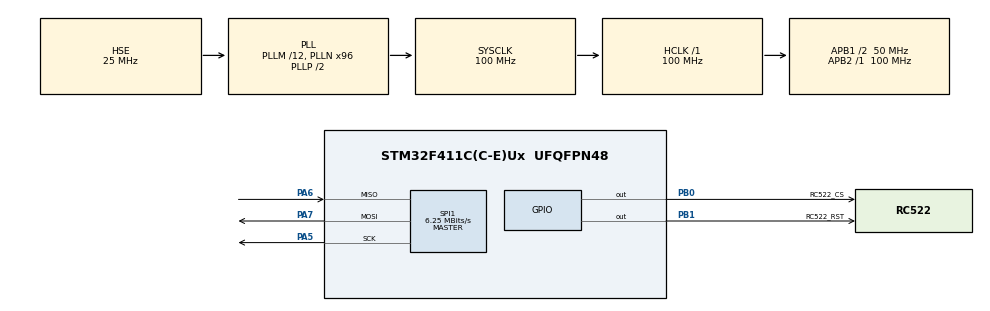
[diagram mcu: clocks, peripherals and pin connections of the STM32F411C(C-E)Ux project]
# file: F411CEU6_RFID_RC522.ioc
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Mcu.Family=STM32F4
Mcu.Name=STM32F411C(C-E)Ux
Mcu.Package=UFQFPN48
NVIC.PriorityGroup=NVIC_PRIORITYGROUP_4
PA13.Mode=Serial_Wire
PA13.Signal=SYS_JTMS-SWDIO
PA14.Mode=Serial_Wire
PA14.Signal=SYS_JTCK-SWCLK
PA5.Mode=Full_Duplex_Master
PA5.Signal=SPI1_SCK
PA6.Mode=Full_Duplex_Master
PA6.Signal=SPI1_MISO
PA7.Mode=Full_Duplex_Master
PA7.Signal=SPI1_MOSI
PB0.GPIO_Label=RC522_CS
PB0.Signal=GPIO_Output
PB1.GPIO_Label=RC522_RST
PB1.Signal=GPIO_Output
PH0\ -\ OSC_IN.Mode=HSE-External-Oscillator
PH0\ -\ OSC_IN.Signal=RCC_OSC_IN
PH1\ -\ OSC_OUT.Mode=HSE-External-Oscillator
PH1\ -\ OSC_OUT.Signal=RCC_OSC_OUT
ProjectManager.HeapSize=0x200
ProjectManager.StackSize=0x400
ProjectManager.TargetToolchain=STM32CubeIDE
RCC.48MHZClocksFreq_Value=50000000
RCC.AHBFreq_Value=100000000
RCC.APB1CLKDivider=RCC_HCLK_DIV2
RCC.APB1Freq_Value=50000000
RCC.APB1TimFreq_Value=100000000
RCC.APB2Freq_Value=100000000
RCC.APB2TimFreq_Value=100000000
RCC.CortexFreq_Value=100000000
RCC.HCLKFreq_Value=100000000
RCC.HSE_VALUE=25000000
RCC.HSI_VALUE=16000000
RCC.LSE_VALUE=32768
RCC.PLLM=12
RCC.PLLN=96
RCC.PLLSourceVirtual=RCC_PLLSOURCE_HSE
RCC.SYSCLKFreq_VALUE=100000000
RCC.SYSCLKSource=RCC_SYSCLKSOURCE_PLLCLK
RCC.VCOOutputFreq_Value=200000000
SPI1.BaudRatePrescaler=SPI_BAUDRATEPRESCALER_16
SPI1.CalculateBaudRate=6.25 MBits/s
SPI1.Direction=SPI_DIRECTION_2LINES
SPI1.Mode=SPI_MODE_MASTER
SPI1.VirtualType=VM_MASTER
board=custom

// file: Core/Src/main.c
/* USER CODE BEGIN Header */
/**
  ******************************************************************************
  * @file           : main.c
  * @brief          : Main program body
  ******************************************************************************
  * @attention
  *
  * Copyright (c) 2024 STMicroelectronics.
  * All rights reserved.
  *
  * This software is licensed under terms that can be found in the LICENSE file
  * in the root directory of this software component.
  * If no LICENSE file comes with this software, it is provided AS-IS.
  *
  ******************************************************************************
  */
/* USER CODE END Header */
#include "main.h"

/* USER CODE BEGIN Includes */
#include "delay.h"
#include "MFRC522.h"
#include <string.h>
/* USER CODE END Includes */

SPI_HandleTypeDef hspi1;

/* USER CODE BEGIN PV */
u_char status, cardstr[MAX_LEN+1];
u_char card_data[17];
uint32_t delay_val = 1000; //ms

// To keep track of the phases of processing that we pass through
uint16_t result = 0;

// The type of card inserted
u_char TagType[2];

u_char UID[5];

// Select Acknowledge https://www.nxp.com/docs/en/application-note/AN10833.pdf
u_char SAK = 0;

// To read the entire 1KB of the card for inspection
u_char CardContent[64][17];
u_char CardReadStatus;

// a private key to scramble data writing/reading to/from RFID card:
u_char Mx1[7][5]={{0x12,0x45,0xF2,0xA8},{0xB2,0x6C,0x39,0x83},{0x55,0xE5,0xDA,0x18},
				{0x1F,0x09,0xCA,0x75},{0x99,0xA2,0x50,0xEC},{0x2C,0x88,0x7F,0x3D}};

u_char SectorKey[7];
/* USER CODE END PV */

void SystemClock_Config(void);
static void MX_GPIO_Init(void);
static void MX_SPI1_Init(void);

/* USER CODE BEGIN 0 */
void ProcessTag() {
#if 0
	SectorKey[0] = ((Mx1[0][0]) ^ (UID[0])) + ((Mx1[0][1]) ^ (UID[1]))
			+ ((Mx1[0][2]) ^ (UID[2])) + ((Mx1[0][3]) ^ (UID[3])); // 0x11; //KeyA[0]
	SectorKey[1] = ((Mx1[1][0]) ^ (UID[0])) + ((Mx1[1][1]) ^ (UID[1]))
			+ ((Mx1[1][2]) ^ (UID[2])) + ((Mx1[1][3]) ^ (UID[3])); // 0x11; //KeyA[0]
	SectorKey[2] = ((Mx1[2][0]) ^ (UID[0])) + ((Mx1[2][1]) ^ (UID[1]))
			+ ((Mx1[2][2]) ^ (UID[2])) + ((Mx1[2][3]) ^ (UID[3])); // 0x11; //KeyA[0]
	SectorKey[3] = ((Mx1[3][0]) ^ (UID[0])) + ((Mx1[3][1]) ^ (UID[1]))
			+ ((Mx1[3][2]) ^ (UID[2])) + ((Mx1[3][3]) ^ (UID[3])); // 0x11; //KeyA[0]
	SectorKey[4] = ((Mx1[4][0]) ^ (UID[0])) + ((Mx1[4][1]) ^ (UID[1]))
			+ ((Mx1[4][2]) ^ (UID[2])) + ((Mx1[4][3]) ^ (UID[3])); // 0x11; //KeyA[0]
	SectorKey[5] = ((Mx1[5][0]) ^ (UID[0])) + ((Mx1[5][1]) ^ (UID[1]))
			+ ((Mx1[5][2]) ^ (UID[2])) + ((Mx1[5][3]) ^ (UID[3])); // 0x11; //KeyA[0]

	DWT_Delay_ms(1);
	status = MFRC522_Auth(0x60, 3, SectorKey, cardstr);

	if (status == MI_OK) {
		result++;

		if (HAL_GPIO_ReadPin(Key2_GPIO_Port, Key2_Pin) == 0) {
			// Clean-Up the Card:
			card_data[0] = 0xFF;
			card_data[1] = 0xFF;
			card_data[2] = 0xFF;
			card_data[3] = 0xFF;
			card_data[4] = 0xFF;
			card_data[5] = 0xFF;
			card_data[6] = 0xFF; //Access_bits[6]
			card_data[7] = 0x07; //Access_bits[7]
			card_data[8] = 0x80; //Access_bits[8]
			card_data[9] = 0x88; //user_byte[9]
			card_data[10] = 0x88; //user_byte[10]
			card_data[11] = 0x88; //user_byte[11]
			card_data[12] = 0x88; //user_byte[12]
			card_data[13] = 0x88; //user_byte[13]
			card_data[14] = 0x88; //user_byte[14]
			card_data[15] = 0x88; //user_byte[15]
			DWT_Delay_ms(1);
			status = MFRC522_Write(3, card_data);
			if (status == MI_OK) {
				result++;
				delay_val = 2000;
			}
		}
	} else {
		for (int i = 0; i < 16; i++) {
			cardstr[i] = 0;
		}
		status = 0;
		// Find cards
		DWT_Delay_ms(1);
		status = MFRC522_Request(PICC_REQIDL, cardstr);
		DWT_Delay_ms(1);
		status = MFRC522_Anticoll(cardstr);
		DWT_Delay_ms(1);
		status = MFRC522_SelectTag(cardstr);
		SectorKey[0] = 0xFF;
		SectorKey[1] = 0xFF;
		SectorKey[2] = 0xFF;
		SectorKey[3] = 0xFF;
		SectorKey[4] = 0xFF;
		SectorKey[5] = 0xFF;
		DWT_Delay_ms(1);
		status = MFRC522_Auth(0x60, 3, SectorKey, cardstr);
		if (status == MI_OK) {
			if (HAL_GPIO_ReadPin(Key1_GPIO_Port, Key1_Pin) == 0) {
				card_data[0] = ((Mx1[0][0]) ^ (UID[0]))
						+ ((Mx1[0][1]) ^ (UID[1])) + ((Mx1[0][2]) ^ (UID[2]))
						+ ((Mx1[0][3]) ^ (UID[3])); // 0x11; //KeyA[0]
				card_data[1] = ((Mx1[1][0]) ^ (UID[0]))
						+ ((Mx1[1][1]) ^ (UID[1])) + ((Mx1[1][2]) ^ (UID[2]))
						+ ((Mx1[1][3]) ^ (UID[3])); // 0x11; //KeyA[0]
				card_data[2] = ((Mx1[2][0]) ^ (UID[0]))
						+ ((Mx1[2][1]) ^ (UID[1])) + ((Mx1[2][2]) ^ (UID[2]))
						+ ((Mx1[2][3]) ^ (UID[3])); // 0x11; //KeyA[0]
				card_data[3] = ((Mx1[3][0]) ^ (UID[0]))
						+ ((Mx1[3][1]) ^ (UID[1])) + ((Mx1[3][2]) ^ (UID[2]))
						+ ((Mx1[3][3]) ^ (UID[3])); // 0x11; //KeyA[0]
				card_data[4] = ((Mx1[4][0]) ^ (UID[0]))
						+ ((Mx1[4][1]) ^ (UID[1])) + ((Mx1[4][2]) ^ (UID[2]))
						+ ((Mx1[4][3]) ^ (UID[3])); // 0x11; //KeyA[0]
				card_data[5] = ((Mx1[5][0]) ^ (UID[0]))
						+ ((Mx1[5][1]) ^ (UID[1])) + ((Mx1[5][2]) ^ (UID[2]))
						+ ((Mx1[5][3]) ^ (UID[3])); // 0x11; //KeyA[0]
				card_data[6] = 0xFF; //Access_bits[6]
				card_data[7] = 0x07; //Access_bits[7]
				card_data[8] = 0x80; //Access_bits[8]
				card_data[9] = 0x88; //user_byte[9]
				card_data[10] = 0x88; //user_byte[10]
				card_data[11] = 0x88; //user_byte[11]
				card_data[12] = 0x88; //user_byte[12]
				card_data[13] = 0x88; //user_byte[13]
				card_data[14] = 0x88; //user_byte[14]
				card_data[15] = 0x88; //user_byte[15]
				DWT_Delay_ms(1);
				status = MFRC522_Write(3, card_data);
				if (status == MI_OK) {
					result++;
					sprintf(str3, "Card Set!");
					delay_val = 2000;
				}
			} else {
				sprintf(str4, "New Card!");
			}
		} else if (status != MI_OK) {
			sprintf(str3, "Auth. Error");
		}
	}
	DWT_Delay_ms(1);
	MFRC522_StopCrypto1();
#endif
	// Prepare the sector key to authenticate before reading/writing the block.
	// This key is stored as the last 6 bytes of the trailer blocks in the sector.
	// So it does not have to be the same for all sector.
	// In a real application, this key can be set once by the user via PIN/password
	// and re-derived from the password/PIN when the card is accessed.
	// The default key is set to 6's 0xFF.
	// WARNING: Once the key is changed, make sure to keep it somewhere so that we can later
	// read the sector!
	for(int i = 0; i < 6; i++) {
		SectorKey[i] = 0xFF;
	}

	// Read the whole 1KB from the card by going through each blocks, authenticate then read.
	// Adapted from https://lastminuteengineers.com/how-rfid-works-rc522-arduino-tutorial/
	for(u_char blockNum = 0; blockNum < 64; blockNum++) {
		status = MFRC522_Auth(0x60, blockNum, SectorKey, UID);

		if (status == MI_OK) {
			result++;

			HAL_Delay(1);
			CardReadStatus = MFRC522_Read(blockNum, CardContent[blockNum]);
		}

		HAL_Delay(10);
	}
}
/* USER CODE END 0 */

int main(void)
{

  /* MCU Configuration--------------------------------------------------------*/

  /* Reset of all peripherals, Initializes the Flash interface and the Systick. */
  HAL_Init();

  /* Configure the system clock */
  SystemClock_Config();

  /* Initialize all configured peripherals */
  MX_GPIO_Init();
  MX_SPI1_Init();
  /* USER CODE BEGIN 2 */
  // From the datasheet: Bring RST pin HIGH (bring it LOW will power down the module) to reset the module
  HAL_GPIO_WritePin(RC522_RST_GPIO_Port, RC522_RST_Pin, GPIO_PIN_SET);
  HAL_Delay(100);

  // Now we can initialize the module
  MFRC522_Init();

  // Put a breakpoint here to see the (module?) version
  status = Read_MFRC522(VersionReg);
  /* USER CODE END 2 */

  /* Infinite loop */
  while (1)
  {

    /* USER CODE BEGIN 3 */
#if 1 // During testing: stop for inspection once succeed
	if (result > 0) {
		HAL_Delay(1000);
		continue;
	}
#endif

	// status = 0;
	// Find cards
	status = MFRC522_Request(PICC_REQIDL, TagType);
	if(status == MI_OK) {
		result++;

		HAL_Delay(1);
		status = MFRC522_Anticoll(cardstr);

		if(status == MI_OK) {
			result++;
			memcpy(UID, cardstr, 5);

			HAL_Delay(1);
			SAK = MFRC522_SelectTag(cardstr);

			if (SAK > 0) {
				result++;
				ProcessTag();
			}
		}

		MFRC522_Halt();
	} else {
		// Waiting for card
	}
	HAL_Delay(1000);
  }
  /* USER CODE END 3 */
}

void SystemClock_Config(void)
{
  RCC_OscInitTypeDef RCC_OscInitStruct = {0};
  RCC_ClkInitTypeDef RCC_ClkInitStruct = {0};

  /** Configure the main internal regulator output voltage
  */
  __HAL_RCC_PWR_CLK_ENABLE();
  __HAL_PWR_VOLTAGESCALING_CONFIG(PWR_REGULATOR_VOLTAGE_SCALE1);

  /** Initializes the RCC Oscillators according to the specified parameters
  * in the RCC_OscInitTypeDef structure.
  */
  RCC_OscInitStruct.OscillatorType = RCC_OSCILLATORTYPE_HSE;
  RCC_OscInitStruct.HSEState = RCC_HSE_ON;
  RCC_OscInitStruct.PLL.PLLState = RCC_PLL_ON;
  RCC_OscInitStruct.PLL.PLLSource = RCC_PLLSOURCE_HSE;
  RCC_OscInitStruct.PLL.PLLM = 12;
  RCC_OscInitStruct.PLL.PLLN = 96;
  RCC_OscInitStruct.PLL.PLLP = RCC_PLLP_DIV2;
  RCC_OscInitStruct.PLL.PLLQ = 4;
  if (HAL_RCC_OscConfig(&RCC_OscInitStruct) != HAL_OK)
  {
    Error_Handler();
  }

  /** Initializes the CPU, AHB and APB buses clocks
  */
  RCC_ClkInitStruct.ClockType = RCC_CLOCKTYPE_HCLK|RCC_CLOCKTYPE_SYSCLK
                              |RCC_CLOCKTYPE_PCLK1|RCC_CLOCKTYPE_PCLK2;
  RCC_ClkInitStruct.SYSCLKSource = RCC_SYSCLKSOURCE_PLLCLK;
  RCC_ClkInitStruct.AHBCLKDivider = RCC_SYSCLK_DIV1;
  RCC_ClkInitStruct.APB1CLKDivider = RCC_HCLK_DIV2;
  RCC_ClkInitStruct.APB2CLKDivider = RCC_HCLK_DIV1;

  if (HAL_RCC_ClockConfig(&RCC_ClkInitStruct, FLASH_LATENCY_3) != HAL_OK)
  {
    Error_Handler();
  }
}

static void MX_SPI1_Init(void)
{

  /* SPI1 parameter configuration*/
  hspi1.Instance = SPI1;
  hspi1.Init.Mode = SPI_MODE_MASTER;
  hspi1.Init.Direction = SPI_DIRECTION_2LINES;
  hspi1.Init.DataSize = SPI_DATASIZE_8BIT;
  hspi1.Init.CLKPolarity = SPI_POLARITY_LOW;
  hspi1.Init.CLKPhase = SPI_PHASE_1EDGE;
  hspi1.Init.NSS = SPI_NSS_SOFT;
  hspi1.Init.BaudRatePrescaler = SPI_BAUDRATEPRESCALER_16;
  hspi1.Init.FirstBit = SPI_FIRSTBIT_MSB;
  hspi1.Init.TIMode = SPI_TIMODE_DISABLE;
  hspi1.Init.CRCCalculation = SPI_CRCCALCULATION_DISABLE;
  hspi1.Init.CRCPolynomial = 10;
  if (HAL_SPI_Init(&hspi1) != HAL_OK)
  {
    Error_Handler();
  }

}

static void MX_GPIO_Init(void)
{
  GPIO_InitTypeDef GPIO_InitStruct = {0};

  /* GPIO Ports Clock Enable */
  __HAL_RCC_GPIOH_CLK_ENABLE();
  __HAL_RCC_GPIOA_CLK_ENABLE();
  __HAL_RCC_GPIOB_CLK_ENABLE();

  /*Configure GPIO pin Output Level */
  HAL_GPIO_WritePin(GPIOB, RC522_CS_Pin|RC522_RST_Pin, GPIO_PIN_RESET);

  /*Configure GPIO pins : RC522_CS_Pin RC522_RST_Pin */
  GPIO_InitStruct.Pin = RC522_CS_Pin|RC522_RST_Pin;
  GPIO_InitStruct.Mode = GPIO_MODE_OUTPUT_PP;
  GPIO_InitStruct.Pull = GPIO_NOPULL;
  GPIO_InitStruct.Speed = GPIO_SPEED_FREQ_LOW;
  HAL_GPIO_Init(GPIOB, &GPIO_InitStruct);

}

void Error_Handler(void)
{
  __disable_irq();
  while (1)
  {
  }
}
